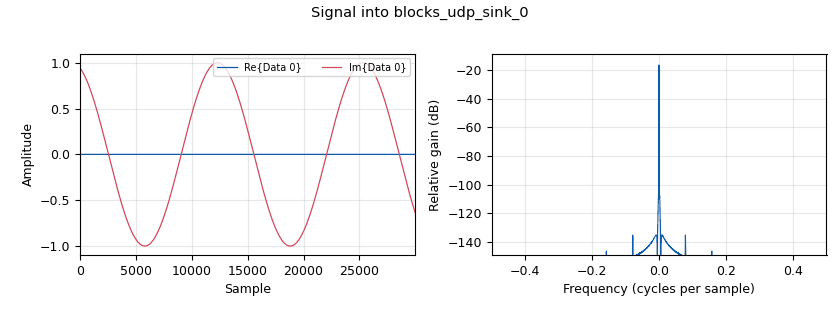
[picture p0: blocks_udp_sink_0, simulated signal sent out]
<?xml version='1.0' encoding='utf-8'?>
<flow_graph>
<block>
<key>options</key>
<param><key>id</key><value>top_block</value></param>
<param><key>generate_options</key><value>wx_gui</value></param>
<param><key>category</key><value>Custom</value></param>
</block>
<block>
<key>variable</key>
<param><key>id</key><value>samp_rate</value></param>
<param><key>value</key><value>1E8/512</value></param>
</block>
<block>
<key>variable</key>
<param><key>id</key><value>r0_tx_port</value></param>
<param><key>value</key><value>1236</value></param>
</block>
<block>
<key>variable</key>
<param><key>id</key><value>operator_ip</value></param>
<param><key>value</key><value>"127.0.0.1"</value></param>
</block>
<block>
<key>variable</key>
<param><key>id</key><value>samp_freq</value></param>
<param><key>value</key><value>910e6</value></param>
</block>
<block>
<key>variable</key>
<param><key>id</key><value>r1_rx_port</value></param>
<param><key>value</key><value>1237</value></param>
</block>
<block>
<key>variable</key>
<param><key>id</key><value>r1_tx_port</value></param>
<param><key>value</key><value>1238</value></param>
</block>
<block>
<key>variable</key>
<param><key>id</key><value>r0_rx_port</value></param>
<param><key>value</key><value>1235</value></param>
</block>
<block>
<key>variable</key>
<param><key>id</key><value>all_tx_gain</value></param>
<param><key>value</key><value>20</value></param>
</block>
<block>
<key>variable</key>
<param><key>id</key><value>all_rx_gain</value></param>
<param><key>value</key><value>20</value></param>
</block>
<block>
<key>variable</key>
<param><key>id</key><value>udp_payload_size</value></param>
<param><key>value</key><value>2048*8</value></param>
</block>
<block>
<key>note</key>
<param><key>id</key><value>note_1_0</value></param>
<param><key>note</key><value>Radio at .201</value></param>
</block>
<block>
<key>note</key>
<param><key>id</key><value>note_1</value></param>
<param><key>note</key><value>Radio at .200</value></param>
</block>
<block>
<key>note</key>
<param><key>id</key><value>note_1_2</value></param>
<param><key>note</key><value>Both Radios</value></param>
</block>
<block>
<key>note</key>
<param><key>id</key><value>note_1_1</value></param>
<param><key>note</key><value>Radio at .200</value></param>
</block>
<block>
<key>analog_sig_source_x</key>
<param><key>id</key><value>analog_sig_source_x_0</value></param>
<param><key>_enabled</key><value>False</value></param>
<param><key>type</key><value>complex</value></param>
<param><key>samp_rate</key><value>samp_rate</value></param>
<param><key>waveform</key><value>analog.GR_COS_WAVE</value></param>
<param><key>freq</key><value>1000</value></param>
<param><key>amp</key><value>1</value></param>
<param><key>offset</key><value>0</value></param>
</block>
<block>
<key>blocks_udp_source</key>
<param><key>id</key><value>blocks_udp_source_0</value></param>
<param><key>_enabled</key><value>False</value></param>
<param><key>type</key><value>complex</value></param>
<param><key>ipaddr</key><value>0.0.0.0</value></param>
<param><key>port</key><value>r0_tx_port</value></param>
<param><key>psize</key><value>udp_payload_size</value></param>
<param><key>eof</key><value>False</value></param>
<param><key>vlen</key><value>1</value></param>
<param><key>minoutbuf</key><value>2880</value></param>
</block>
<block>
<key>uhd_usrp_sink</key>
<param><key>id</key><value>uhd_usrp_sink_0</value></param>
<param><key>_enabled</key><value>False</value></param>
<param><key>type</key><value>fc32</value></param>
<param><key>dev_addr</key><value>addr=192.168.1.200</value></param>
<param><key>sync</key><value></value></param>
<param><key>clock_rate</key><value>0.0</value></param>
<param><key>clock_source0</key><value>external</value></param>
<param><key>samp_rate</key><value>samp_rate</value></param>
<param><key>center_freq0</key><value>samp_freq</value></param>
<param><key>gain0</key><value>all_tx_gain</value></param>
<param><key>ant0</key><value>TX/RX</value></param>
</block>
<block>
<key>uhd_usrp_source</key>
<param><key>id</key><value>uhd_usrp_source_0</value></param>
<param><key>_enabled</key><value>False</value></param>
<param><key>type</key><value>fc32</value></param>
<param><key>dev_addr</key><value>addr=192.168.1.200</value></param>
<param><key>sync</key><value></value></param>
<param><key>clock_rate</key><value>0.0</value></param>
<param><key>clock_source0</key><value>external</value></param>
<param><key>samp_rate</key><value>samp_rate</value></param>
<param><key>center_freq0</key><value>samp_freq</value></param>
<param><key>gain0</key><value>all_rx_gain</value></param>
<param><key>ant0</key><value>TX/RX</value></param>
</block>
<block>
<key>analog_const_source_x</key>
<param><key>id</key><value>analog_const_source_x_0</value></param>
<param><key>type</key><value>float</value></param>
<param><key>const</key><value>0</value></param>
</block>
<block>
<key>blocks_float_to_complex</key>
<param><key>id</key><value>blocks_float_to_complex_1</value></param>
</block>
<block>
<key>blocks_udp_sink</key>
<param><key>id</key><value>blocks_udp_sink_0</value></param>
<param><key>type</key><value>complex</value></param>
<param><key>ipaddr</key><value>operator_ip</value></param>
<param><key>port</key><value>r0_rx_port</value></param>
<param><key>psize</key><value>udp_payload_size</value></param>
<param><key>eof</key><value>False</value></param>
<param><key>vlen</key><value>1</value></param>
</block>
<block>
<key>blocks_throttle</key>
<param><key>id</key><value>blocks_throttle_0</value></param>
<param><key>type</key><value>complex</value></param>
<param><key>samples_per_second</key><value>samp_rate</value></param>
</block>
<block>
<key>analog_sig_source_x</key>
<param><key>id</key><value>analog_sig_source_x_0_0</value></param>
<param><key>type</key><value>float</value></param>
<param><key>samp_rate</key><value>samp_rate</value></param>
<param><key>waveform</key><value>analog.GR_COS_WAVE</value></param>
<param><key>freq</key><value>15</value></param>
<param><key>amp</key><value>1</value></param>
<param><key>offset</key><value>0</value></param>
<param><key>minoutbuf</key><value>5000</value></param>
</block>
<connection><source_block_id>uhd_usrp_source_0</source_block_id><sink_block_id>blocks_udp_sink_0</sink_block_id><source_key>0</source_key><sink_key>0</sink_key></connection>
<connection><source_block_id>blocks_udp_source_0</source_block_id><sink_block_id>uhd_usrp_sink_0</sink_block_id><source_key>0</source_key><sink_key>0</sink_key></connection>
<connection><source_block_id>analog_sig_source_x_0</source_block_id><sink_block_id>uhd_usrp_sink_0</sink_block_id><source_key>0</source_key><sink_key>0</sink_key></connection>
<connection><source_block_id>analog_sig_source_x_0_0</source_block_id><sink_block_id>blocks_float_to_complex_1</sink_block_id><source_key>0</source_key><sink_key>1</sink_key></connection>
<connection><source_block_id>analog_const_source_x_0</source_block_id><sink_block_id>blocks_float_to_complex_1</sink_block_id><source_key>0</source_key><sink_key>0</sink_key></connection>
<connection><source_block_id>blocks_float_to_complex_1</source_block_id><sink_block_id>blocks_throttle_0</sink_block_id><source_key>0</source_key><sink_key>0</sink_key></connection>
<connection><source_block_id>blocks_throttle_0</source_block_id><sink_block_id>blocks_udp_sink_0</sink_block_id><source_key>0</source_key><sink_key>0</sink_key></connection>
</flow_graph>
